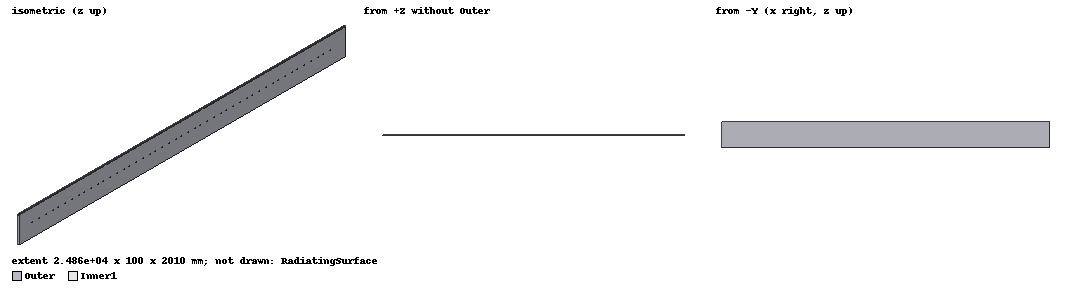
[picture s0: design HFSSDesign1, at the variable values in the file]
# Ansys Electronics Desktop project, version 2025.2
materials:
  vacuum: permittivity=1
  air: permittivity=1.0006 permeability=1.0000004
  pec: conductivity=1e+30

design HFSSDesign1 (HFSS, HFSS Modal Network, model units mm)
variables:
  a = 22.86m
  l = 100mm
  b = 10.16mm
  th = 1m
  thmm = 1m
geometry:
  Inner = box(corner=(-a/2, 0mm, 0mm), size=(a, l, b))
  Outer [pec] = box(corner=(-a/2-th, 0mm, -thmm), size=(a+2*th, l, b+2*th))
  Outer.subtract(Inner)
  Inner1 [air] = box(corner=(-a/2, 0mm, 0mm), size=(a, l, b))
  Port2 = rectangle(corner=(12.43mm, 100mm, 11.16mm), z_size=-12.16mm, x_size=-24.93mm)
  Port1 = rectangle(corner=(-12.43mm, 0mm, 11.16mm), z_size=-12.16mm, x_size=24.86mm)
  RadiatingSurface [vacuum] = region(absolute_offset: +X=5.5555556mm, -X=5.5555556mm, +Y=0mm, -Y=0mm, +Z=5.5555556mm, -Z=5.5555556mm)
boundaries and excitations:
  Open1: Radiation Objects=RadiatingSurface
  Port1: Wave Port Objects=Port1 WavePortType=Modal NumModes=4 Modes{Mode1{CharImp=Zpi} Mode2{CharImp=Zpi} Mode3{CharImp=Zpi} Mode4{CharImp=Zpi}}
  Port2: Wave Port Objects=Port2 WavePortType=Modal NumModes=4 Modes{Mode1{CharImp=Zpi} Mode2{CharImp=Zpi} Mode3{CharImp=Zpi} Mode4{CharImp=Zpi}}
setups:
  Setup1: HfssDriven Frequency=18GHz MaxDeltaS=0.02 MaximumPasses=6 MinimumPasses=1 MinimumConvergedPasses=1 PercentRefinement=30 BasisOrder=1 PortAccuracy=2 DrivenSolverType="Direct Solver"
    sweep Sweep: 5GHz to 20GHz, 401 points; Type=Interpolating SaveFields InterpTolerance=0.5 InterpMaxSolns=250 InterpUsePortImped=false PassivityErrorTolerance=0.0001
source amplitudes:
  Port1:1, Port1:2, Port1:3, Port2:1..Port2:4: 0W 0deg
  Port1:4: 2W 0deg
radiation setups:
  3D: Infinite Sphere Theta=0deg..180deg step 2deg Phi=-180deg..180deg step 2deg
  Elevation: Infinite Sphere Theta=-180deg..180deg step 1deg Phi=0deg..90deg step 90deg
  Azimuth: Infinite Sphere Theta=90deg..90deg step 0deg Phi=-180deg..180deg step 1deg
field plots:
  Vector_E1: E Field in Inner1 on Setup1 : Sweep at Freq=14.140625GHz Phase=0deg
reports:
  S Parameter Plot1: dB(S(Port2:1,Port1:1)), dB(S(Port2:2,Port1:2)), dB(S(Port2:3,Port1:3)), dB(S(Port2:4,Port1:4)) vs Freq on Setup1 : Sweep
  S Parameter Plot2: dB(S(Port2:1,Port1:1)), dB(S(Port2:2,Port1:2)), dB(S(Port2:3,Port1:3)), dB(S(Port2:4,Port1:4)) vs Freq on Setup1 : Sweep; markers m1 at 6.6125GHz, m2 at 13.1375GHz, m3 at 14.75GHz, m4 at 16.325GHz
